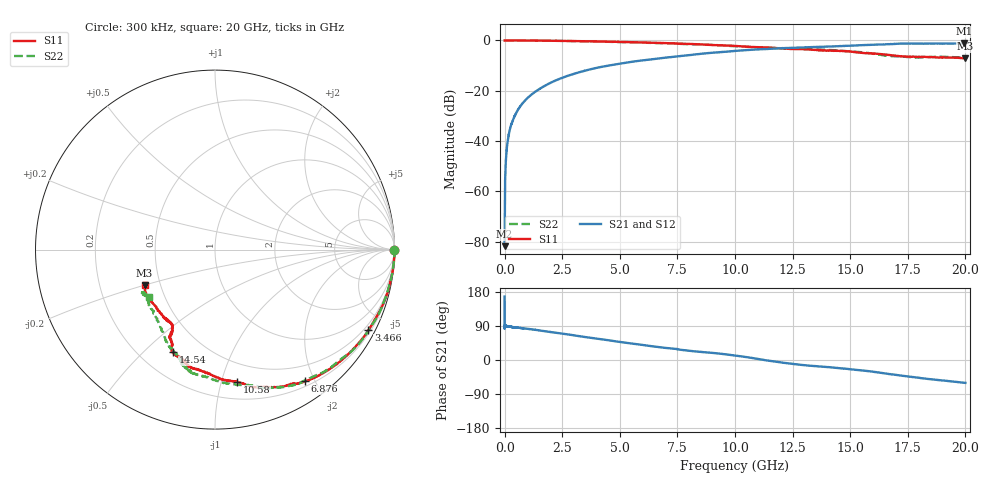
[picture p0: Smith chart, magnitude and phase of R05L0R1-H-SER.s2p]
!{R05L0R1}
!Johanson Technology Inc.
!www.johansontechnology.com
!Test Board Conditions:
!Substrate Type  RO4350B
!Substrate Thickness  10 mil
!Substrate Dk  3.66
!TL Type: GCPW
!TL Trace Width  22 mil
!TL Gap  25 mil
!Electrode orientation  Horizontal
!DUT TOPOLOGY	SERIES
!Mounting Pad LxW  11x14.5 mil
! Created Wed Nov 25 17:33:21 2020
! 2 Port Network Data from SP1.SP block
! freq  magS11  angS11  magS21  angS21  magS12  angS12  magS22  angS22
# khz S ma R 50
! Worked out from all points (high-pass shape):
!   20001 points, 300 kHz to 20 GHz, reference 50 ohm
!   highest |S21| = -1.16 dB at 19.95 GHz (marker M1); lowest = -81.8 dB at 300 kHz (marker M2)
!   |S21| within 3 dB of the highest: 10.02187 GHz to 10.02289 GHz (1.026 MHz wide, 0.0102 % of centre); 10.03 GHz to end of sweep
!   lowest |S11| = -7.1 dB at 19.99 GHz (marker M3), VSWR 2.57, Z = 20.4 - j10 ohm
!   |S11| at or under -10 dB: nowhere
!   |S22| runs from -6.9 to 0.0 dB; largest |S21 - S12| = 0.024
!   S11 on the Smith chart (normalised r, x): 300 kHz: open; 3.466 GHz: 0.31, -4.03; 6.876 GHz: 0.27, -1.86; 10.58 GHz: 0.34, -1.13; 14.54 GHz: 0.33, -0.62; 20 GHz: 0.41, -0.20
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300  0.9993 -0.0  8.108e-05 167.2  5.644e-05 55.2  0.9996 -0.2
104300  1 -0.8  0.007783 89.2  0.007743 89.3  0.9994 -0.7
153300  0.9998 -1.2  0.01136 88.6  0.01151 88.5  0.9999 -1.2
300300  0.9995 -2.2  0.02165 87.3  0.02176 87.3  0.9994 -2.2
553300  0.9988 -4.2  0.03977 85.3  0.03995 85.6  0.9989 -4.1
982300  0.9969 -7.2  0.07072 82.4  0.07067 82.3  0.9964 -7.4
1600300  0.9923 -12.0  0.1149 77.2  0.1153 77.3  0.9891 -12.7
3334300  0.9674 -26.4  0.2397 62.1  0.2403 62.1  0.9648 -28.6
3466300  0.9654 -27.7  0.2487 60.8  0.2497 60.8  0.9627 -29.8
5103300  0.9327 -42.4  0.3512 46.8  0.3518 47.0  0.9251 -42.7
6667300  0.8939 -54.4  0.4367 34.2  0.4381 34.5  0.8847 -55.5
6876300  0.8884 -55.7  0.4491 32.7  0.4487 33.0  0.8825 -57.1
1.00003e7  0.7792 -76.4  0.6176 11.7  0.6208 11.8  0.7696 -78.4
1.05833e7  0.7476 -80.4  0.6473 6.9  0.6476 6.5  0.7499 -84.6
1.18293e7  0.7046 -90.6  0.6961 -5.1  0.6961 -5.6  0.7038 -98.7
1.33343e7  0.6551 -104.0  0.738 -15.4  0.732 -15.6  0.6685 -105.5
1.45433e7  0.6181 -112.3  0.7732 -21.4  0.7678 -21.8  0.6278 -109.3
1.66673e7  0.5154 -117.8  0.8455 -37.0  0.8512 -35.7  0.497 -133.0
1.81243e7  0.4734 -126.8  0.8662 -48.0  0.871 -48.2  0.4616 -148.0
1.99523e7  0.442 -152.7  0.875 -60.2  0.8771 -59.7  0.4587 -145.0
1.99893e7  0.4398 -153.1  0.8716 -60.4  0.8767 -60.0  0.4538 -144.8
2e7  0.4405 -153.1  0.8743 -60.4  0.8782 -59.9  0.4529 -144.8
